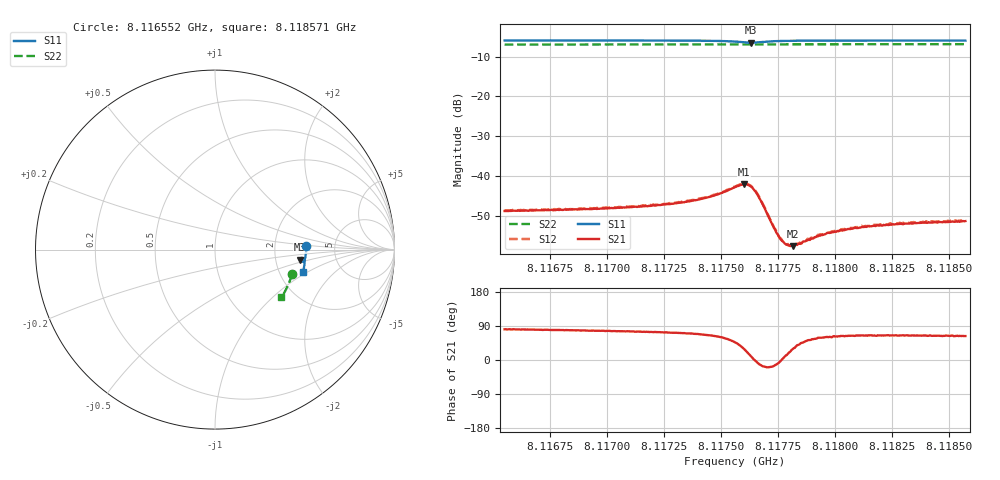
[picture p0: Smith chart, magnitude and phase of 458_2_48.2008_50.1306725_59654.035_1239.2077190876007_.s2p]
#  HZ  S  RI  R  50.00
! Rohde & Schwarz Vector Network Analyzer
! Rohde-Schwarz,ZNB20-2Port,1311601062101988,3.16
! Created: UTC 3/20/2024, 11:56:37 AM
! freq[Hz]  re:S11  im:S11  re:S21  im:S21  re:S12  im:S12  re:S22  im:S22
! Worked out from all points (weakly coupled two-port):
!   401 points, 8.116552 GHz to 8.118571 GHz, reference 50 ohm
!   highest |S21| = -42.11 dB at 8.117602 GHz (marker M1); lowest = -57.7 dB at 8.117814 GHz (marker M2)
!   lowest |S11| = -6.4 dB at 8.117632 GHz (marker M3), VSWR 2.82, Z = 138 - j19.8 ohm
!   |S11| at or under -10 dB: nowhere
!   |S22| runs from -6.9 to -6.8 dB; largest |S21 - S12| = 0.00022
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8.1165519e9  0.5069 0.0181  0.000561 0.00358  0.000599 0.00362  0.4285 -0.1385
8.1168901e9  0.5067 -0.00803  0.0008 0.00371  0.000848 0.0038  0.4215 -0.161
8.1172282e9  0.5045 -0.0352  0.00122 0.00412  0.00131 0.00418  0.4132 -0.1831
8.1173392e9  0.5028 -0.0449  0.00151 0.00441  0.0016 0.00452  0.4103 -0.1904
8.11743e9  0.5001 -0.0539  0.0021 0.00482  0.00215 0.00491  0.4077 -0.1963
8.1175057e9  0.4954 -0.0624  0.00313 0.00529  0.00327 0.00533  0.4052 -0.2013
8.1175612e9  0.4866 -0.0675  0.00493 0.00524  0.00511 0.00528  0.4033 -0.2048
8.1176016e9  0.4766 -0.065  0.00687 0.00378  0.00703 0.00383  0.4018 -0.2069
8.1176319e9  0.4729 -0.0556  0.00723 0.00116  0.00737 0.00118  0.401 -0.2082
8.117647e9  0.4747 -0.0508  0.00656 -3.75e-05  0.00673 -8.43e-05  0.4006 -0.209
8.1176672e9  0.4801 -0.0467  0.00519 -0.00101  0.00532 -0.00106  0.4004 -0.21
8.1177328e9  0.4942 -0.0513  0.00212 -0.000576  0.00213 -0.000596  0.399 -0.2145
8.117758e9  0.4965 -0.0551  0.00164 -0.000132  0.00165 -0.000104  0.3983 -0.2161
8.1177732e9  0.4973 -0.0571  0.00147 0.000122  0.0015 9.92e-05  0.3979 -0.2171
8.1177883e9  0.4981 -0.0591  0.00132 0.000315  0.00134 0.000271  0.3975 -0.2182
8.1178136e9  0.4988 -0.0623  0.00115 0.000624  0.00118 0.000596  0.3967 -0.2198
8.1178438e9  0.4992 -0.0658  0.00105 0.000921  0.00109 0.000952  0.3957 -0.2217
8.1178994e9  0.4993 -0.0715  0.00093 0.00133  0.00102 0.00133  0.394 -0.2253
8.117965e9  0.499 -0.0777  0.000936 0.00168  0.000915 0.00168  0.3919 -0.2293
8.1180356e9  0.4983 -0.0839  0.000927 0.00185  0.000963 0.00191  0.3895 -0.2337
8.1182375e9  0.4955 -0.1003  0.00104 0.00219  0.0011 0.00225  0.3827 -0.2461
8.1185705e9  0.4896 -0.1253  0.00122 0.00241  0.00128 0.00245  0.3703 -0.2661
